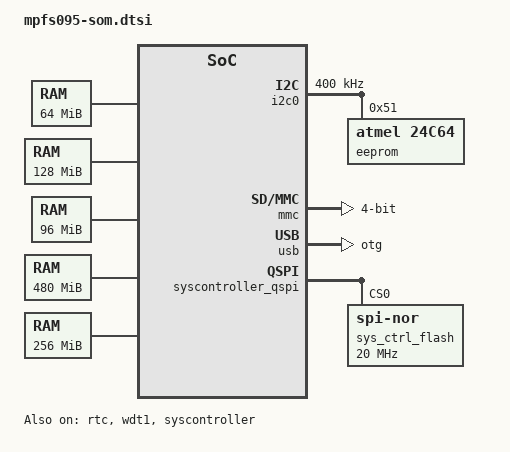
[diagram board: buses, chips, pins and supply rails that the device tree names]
// SPDX-License-Identifier: (GPL-2.0 OR MIT)
/* Copyright (c) 2026 Microchip Technology Inc */

/* Clock frequency (in Hz) of the rtcclk */
#define RTCCLK_FREQ		   1000000

/ {
	compatible = "microchip,mpfs095-som", "microchip,mpfs";

	soc {
		dma-ranges = <0x14 0x0 0x0 0x80000000 0x0 0x4000000>,
			     <0x14 0x4000000 0x0 0xc4000000 0x0 0x6000000>,
			     <0x14 0xa000000 0x0 0x8a000000 0x0 0x8000000>,
			     <0x14 0x12000000 0x14 0x12000000 0x0 0x10000000>,
			     <0x14 0x22000000 0x10 0x22000000 0x0 0x1e000000>;
	};

	cpus {
		timebase-frequency = <RTCCLK_FREQ>;
	};

	kernel: memory@80000000 {
		device_type = "memory";
		reg = <0x0 0x80000000 0x0 0x4000000>;
	};

	ddr_cached_low: memory@8a000000 {
		device_type = "memory";
		reg = <0x0 0x8a000000 0x0 0x8000000>;
	};

	ddr_non_cached_low: memory@c4000000 {
		device_type = "memory";
		reg = <0x0 0xc4000000 0x0 0x6000000>;
	};

	ddr_cached_high: memory@1022000000 {
		device_type = "memory";
		reg = <0x10 0x22000000 0x0 0x1e000000>;
	};

	ddr_non_cached_high: memory@1412000000 {
		device_type = "memory";
		reg = <0x14 0x12000000 0x0 0x10000000>;
	};

	reserved-memory {
		#address-cells = <2>;
		#size-cells = <2>;
		ranges;

		hss: hss-buffer@103fc00000 {
			compatible = "shared-dma-pool";
			reg = <0x10 0x3fc00000 0x0 0x200000>;
			no-map;
		};

		dma_non_cached_low: non-cached-low-buffer {
			compatible = "shared-dma-pool";
			size = <0x0 0x4000000>;
			no-map;
			alloc-ranges = <0x0 0xc4000000 0x0 0x4000000>;
		};

		dma_non_cached_high: non-cached-high-buffer {
			compatible = "shared-dma-pool";
			size = <0x0 0x10000000>;
			no-map;
			linux,dma-default;
			alloc-ranges = <0x14 0x12000000 0x0 0x10000000>;
		};

		fabricbuf0ddrc: buffer@88000000 {
			compatible = "shared-dma-pool";
			reg = <0x0 0x88000000 0x0 0x2000000>;
			no-map;
		};

		fabricbuf1ddrnc: buffer@c8000000 {
			compatible = "shared-dma-pool";
			reg = <0x0 0xc8000000 0x0 0x2000000>;
			no-map;
		};

		fabricbuf2ddrncwcb: buffer@d8000000 {
			compatible = "shared-dma-pool";
			reg = <0x0 0xd8000000 0x0 0x2000000>;
			no-map;
		};
	};

	udmabuf0 {
		compatible = "ikwzm,u-dma-buf";
		device-name = "udmabuf-ddr-c0";
		minor-number = <0>;
		size = <0x0 0x2000000>;
		memory-region = <&fabricbuf0ddrc>;
		sync-mode = <3>;
	};

	udmabuf1 {
		compatible = "ikwzm,u-dma-buf";
		device-name = "udmabuf-ddr-nc0";
		minor-number = <1>;
		size = <0x0 0x2000000>;
		memory-region = <&fabricbuf1ddrnc>;
		sync-mode = <3>;
	};

	udmabuf2 {
		compatible = "ikwzm,u-dma-buf";
		device-name = "udmabuf-ddr-nc-wcb0";
		minor-number = <2>;
		size = <0x0 0x2000000>;
		memory-region = <&fabricbuf2ddrncwcb>;
		sync-mode = <3>;
	};
};

&i2c0 {
	status = "okay";
	clock-frequency = <400000>;
	eeprom@51 {
		compatible = "atmel,24c64";
		reg = <0x51>;
		status = "okay";
	};
};

&mmc {
	dma-noncoherent;
	bus-width = <4>;
	disable-wp;
	cap-sd-highspeed;
	cap-mmc-highspeed;
	mmc-ddr-1_8v;
	mmc-hs200-1_8v;
	sd-uhs-sdr12;
	sd-uhs-sdr25;
	sd-uhs-sdr50;
	sd-uhs-sdr104;
	status = "okay";
};

&refclk {
	clock-frequency = <125000000>;
};

&usb {
	dma-noncoherent;
	status = "okay";
	dr_mode = "otg";
};

&rtc {
	status = "okay";
};

&wdt1 {
	status = "okay";
};

&mbox {
	status = "okay";
};

&syscontroller {
	microchip,bitstream-flash = <&sys_ctrl_flash>;
	status = "okay";
};

&syscontroller_qspi {
	status = "okay";

	sys_ctrl_flash: flash@0 { // W25Q64JWSSIQ
		compatible = "jedec,spi-nor";
		#address-cells = <1>;
		#size-cells = <1>;
		spi-max-frequency = <20000000>;
		spi-rx-bus-width = <1>;
		reg = <0>;
		status = "okay";
	};
};

